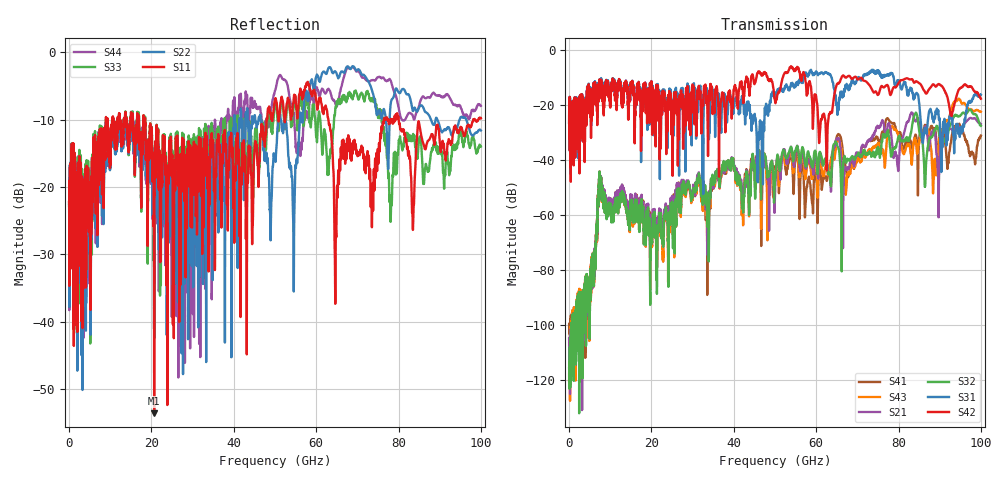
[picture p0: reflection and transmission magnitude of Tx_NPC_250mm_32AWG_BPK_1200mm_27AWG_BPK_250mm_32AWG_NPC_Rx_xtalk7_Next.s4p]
! Info: Touchstone file created by Circ.  Input file=Tx_NPC_250mm_32AWG_BPK_1200mm_27AWG_BPK_250mm_32AWG_NPC_Rx.circ
# Hz S RI R 50
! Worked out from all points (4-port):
!   10000 points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, 10 MHz to 100 GHz, reference 50 ohm
!   strongest paths, dB at 10 MHz, 25.01 GHz, 50.01 GHz, 75.01 GHz, 100 GHz:
!     S42: -26.4, -19.9, -18.4, -16.3, -17.6
!     S31: -26.4, -18.6, -16.2, -7.5, -16.2
!     S32: -115.8, -56.3, -47.0, -35.1, -27.5
!     S21: -105.0, -53.9, -51.1, -28.3, -26.9
!     S43: -120.4, -56.1, -44.2, -33.7, -22.4
!     S41: -100.2, -54.0, -42.3, -32.6, -31.0
!   lowest |S11| = -53.6 dB at 20.66 GHz (marker M1), VSWR 1.00, Z = 50 + j0.209 ohm
!   |S11| at or under -10 dB: 18.46 GHz to 47.97 GHz (29.51 GHz wide, 88.9 % of centre); 62.97 GHz to 76.45 GHz (13.47 GHz wide, 19.3 % of centre); 80.04 GHz to 98.12 GHz (18.08 GHz wide, 20.3 % of centre) (the widest 3 of 46)
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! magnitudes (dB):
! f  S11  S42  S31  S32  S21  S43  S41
! 10 MHz  -22.2  -26.4  -26.4  -115.8  -105.0  -120.4  -100.2
! 5.64 GHz  -17.1  -16.6  -16.5  -77.5  -82.7  -77.0  -80.4
! 7.66 GHz  -16.0  -14.1  -13.6  -46.8  -46.7  -46.8  -46.6
! 20.66 GHz  -53.6  -19.2  -18.2  -59.6  -58.6  -59.9  -58.9
! 78.44 GHz  -9.9  -14.8  -8.4  -37.9  -33.9  -27.6  -26.7
! 88.77 GHz  -13.6  -12.8  -24.4  -29.2  -29.2  -39.6  -28.5
! 100 GHz  -9.8  -17.6  -16.2  -27.5  -26.9  -22.4  -31.0
